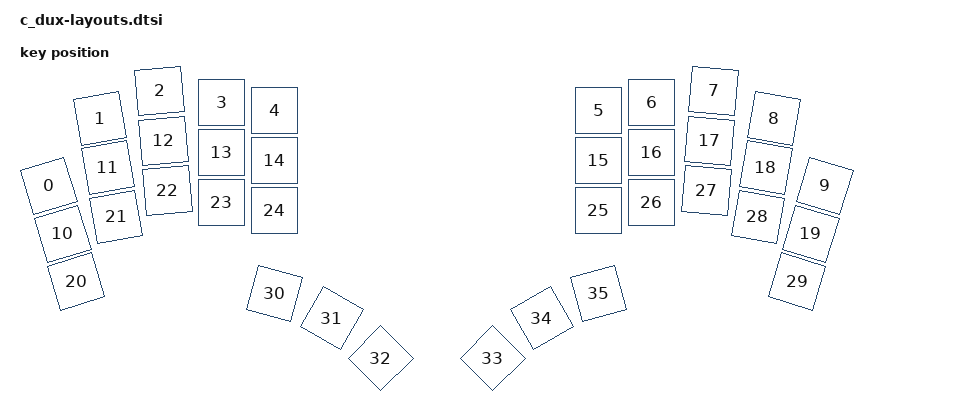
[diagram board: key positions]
#include <physical_layouts.dtsi>

/ {
    physical_layout0: physical_layout_0 {
        compatible = "zmk,physical-layout";
        display-name = "C. Dux Layout";

        kscan = <&kscan0>;
        transform = <&matrix_transform0>;

        keys  //                     w   h    x    y     rot    rx    ry
            = <&key_physical_attrs 100 100    0  190 (-1700)    50   240>
            , <&key_physical_attrs 100 100  102   55 (-1000)   152   105>
            , <&key_physical_attrs 100 100  222    0  (-500)   272    50>
            , <&key_physical_attrs 100 100  346   23       0     0     0>
            , <&key_physical_attrs 100 100  452   40       0     0     0>
            , <&key_physical_attrs 100 100 1100   40       0     0     0>
            , <&key_physical_attrs 100 100 1206   23       0     0     0>
            , <&key_physical_attrs 100 100 1330    0     500  1380    50>
            , <&key_physical_attrs 100 100 1450   55    1000  1500   105>
            , <&key_physical_attrs 100 100 1552  190    1700  1602   240>
            , <&key_physical_attrs 100 100   28  286 (-1700)    78   336>
            , <&key_physical_attrs 100 100  118  153 (-1000)   168   203>
            , <&key_physical_attrs 100 100  230  100  (-500)   280   150>
            , <&key_physical_attrs 100 100  346  123       0     0     0>
            , <&key_physical_attrs 100 100  452  140       0     0     0>
            , <&key_physical_attrs 100 100 1100  140       0     0     0>
            , <&key_physical_attrs 100 100 1206  123       0     0     0>
            , <&key_physical_attrs 100 100 1322  100     500  1372   150>
            , <&key_physical_attrs 100 100 1434  153    1000  1484   203>
            , <&key_physical_attrs 100 100 1524  286    1700  1574   336>
            , <&key_physical_attrs 100 100   55  381 (-1700)   105   431>
            , <&key_physical_attrs 100 100  135  252 (-1000)   185   302>
            , <&key_physical_attrs 100 100  237  199  (-500)   287   249>
            , <&key_physical_attrs 100 100  346  223       0     0     0>
            , <&key_physical_attrs 100 100  452  240       0     0     0>
            , <&key_physical_attrs 100 100 1100  240       0     0     0>
            , <&key_physical_attrs 100 100 1206  223       0     0     0>
            , <&key_physical_attrs 100 100 1315  199     500  1365   249>
            , <&key_physical_attrs 100 100 1418  252    1000  1468   302>
            , <&key_physical_attrs 100 100 1497  381    1700  1547   431>
            , <&key_physical_attrs 100 100  452  405    1500   502   455>
            , <&key_physical_attrs 100 100  566  455    3000   616   505>
            , <&key_physical_attrs 100 100  664  535    4500   714   585>
            , <&key_physical_attrs 100 100  888  535 (-4500)   938   585>
            , <&key_physical_attrs 100 100  986  455 (-3000)  1036   505>
            , <&key_physical_attrs 100 100 1100  405 (-1500)  1150   455>
            ;
    };
};
